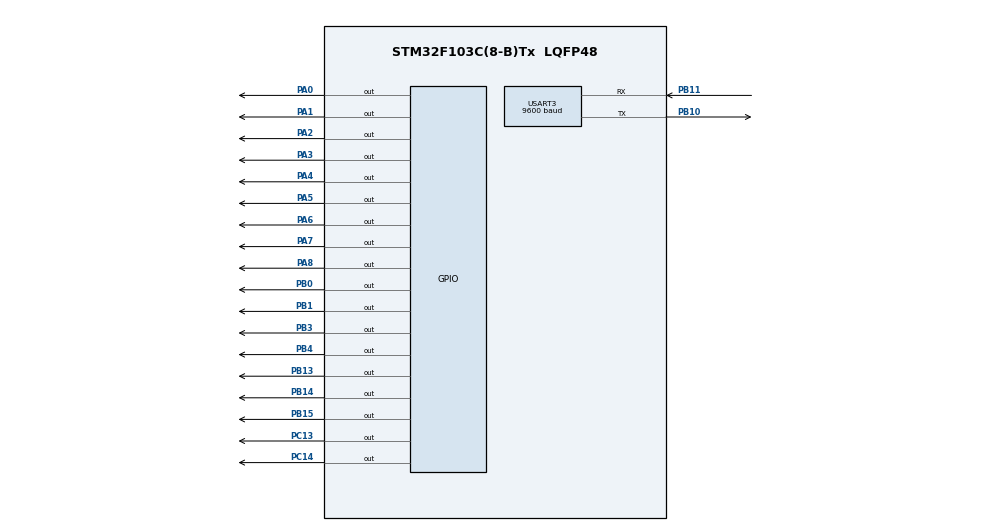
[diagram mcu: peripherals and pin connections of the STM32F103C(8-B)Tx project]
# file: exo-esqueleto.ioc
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Mcu.Family=STM32F1
Mcu.Name=STM32F103C(8-B)Tx
Mcu.Package=LQFP48
NVIC.PriorityGroup=NVIC_PRIORITYGROUP_4
NVIC.TIM3_IRQn=true\:0\:0\:false\:false\:true\:true\:true\:true
NVIC.USART3_IRQn=true\:0\:0\:false\:false\:true\:true\:true\:true
PA0-WKUP.Signal=GPIO_Output
PA1.Signal=GPIO_Output
PA13.Mode=Serial_Wire
PA13.Signal=SYS_JTMS-SWDIO
PA14.Mode=Serial_Wire
PA14.Signal=SYS_JTCK-SWCLK
PA2.Signal=GPIO_Output
PA3.Signal=GPIO_Output
PA4.PinState=GPIO_PIN_SET
PA4.Signal=GPIO_Output
PA5.Signal=GPIO_Output
PA6.Signal=GPIO_Output
PA7.Signal=GPIO_Output
PA8.Signal=GPIO_Output
PB0.Signal=GPIO_Output
PB1.Signal=GPIO_Output
PB10.Mode=Asynchronous
PB10.Signal=USART3_TX
PB11.Mode=Asynchronous
PB11.Signal=USART3_RX
PB13.Signal=GPIO_Output
PB14.Signal=GPIO_Output
PB15.Signal=GPIO_Output
PB3.Signal=GPIO_Output
PB4.PinState=GPIO_PIN_RESET
PB4.Signal=GPIO_Output
PC13-TAMPER-RTC.Signal=GPIO_Output
PC14-OSC32_IN.Signal=GPIO_Output
ProjectManager.HeapSize=0x200
ProjectManager.StackSize=0x400
ProjectManager.TargetToolchain=STM32CubeIDE
RCC.APB1Freq_Value=8000000
RCC.APB2Freq_Value=8000000
TIM3.AutoReloadPreload=TIM_AUTORELOAD_PRELOAD_ENABLE
TIM3.Period=5
TIM3.Prescaler=800
USART3.BaudRate=9600
USART3.VirtualMode=VM_ASYNC
VP_TIM3_VS_ClockSourceINT.Mode=Internal
board=custom

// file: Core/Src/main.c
/* USER CODE BEGIN Header */
/**
 ******************************************************************************
 * @file           : main.c
 * @brief          : Main program body
 ******************************************************************************
 * @attention
 *
 * Copyright (c) 2023 STMicroelectronics.
 * All rights reserved.
                                              *
 * This software is licensed under terms that can be found in the LICENSE file
 * in the root directory of this software component.
 * If no LICENSE file comes with this software, it is provided AS-IS.
 *
 ******************************************************************************
 */
/* USER CODE END Header */
#include "main.h"
#include "tim.h"
#include "usart.h"
#include "gpio.h"

/* USER CODE BEGIN PTD */
typedef enum{
	empty = 0,
	full
}enum_buffer_status;

typedef enum{
	Up = 0,
	Down,
	None
}enum_motion;

typedef enum{
	No = 0,
	Yes
}enum_bit_state;

typedef enum{
	Unreferenced = 0,
	Referenced
}enum_referenced;

typedef enum{
	GoHome = 0,
	WaitReleaseStage,
	GoInitialPosition,
	HomeRoutineComplete,
}enum_home_stages;

typedef enum{
	not_used = 0x00,
	reference_routine = 0x01,
	all_way_down  = 0x02,
	all_way_up  = 0x03,
	sinewave  = 0x04,
	gotoposition  = 0x05,
	reserved_plus=0x2B,
	reserved_minus=0x2D,
	reserved_major_C = 0x43,
	reserved_major_D = 0x44,
	nothing=0x74,
	deselect_thumb = 0x75,
	deselect_index = 0x76,
	deselect_middle = 0x77,
	deselect_ring = 0x78,
	deselect_little = 0x79,
	select_thumb = 0x7A,
	select_index = 0x7B,
	select_middle = 0x7C,
	select_ring = 0x7D,
	select_little = 0x7E,
	stop = 0x7F,
	speed_0 = 0xFA,
	speed_1 = 0xFB,
	speed_2 = 0xFC,
	speed_3 = 0xFD,
	speed_4 = 0xFE,
	speed_5 = 0xFF
}enum_action;

typedef enum{
	lost = 0,
	home,
	referenced
}enum_motor_status;

typedef enum{
	thumb = 0,
	index,
	middle,
	ring,
	little,
	flength
}enum_fingers;

typedef enum{
	portA = 0,
	portB,
}enum_ports;

typedef enum{
	normal = 0,
	fast = 1,
	as_hell

}enum_speed;

typedef enum{
	home_fs = 0,
	idle_fs,

}enum_fsm_state;

typedef struct{
	enum_bit_state in_operation;
	enum_fsm_state fsm_state;
	uint8_t bluetooth_command;
}st_exoesk;

typedef struct{
	uint16_t current_pos[flength];
	uint16_t go_to[flength];
	enum_bit_state fingers_in_op[flength];
	enum_bit_state fingers_in_pos[flength];
}st_gfinger_params;

typedef struct{
	const uint8_t port;
	const uint16_t pin;
}st_gpio_config_t;

typedef struct {
	const st_gpio_config_t step;
	const st_gpio_config_t direction;
	const st_gpio_config_t sleep;
}st_fconfig;

typedef void(*func_ptr_t)(st_exoesk * exoesk);

/* USER CODE END PTD */

/* USER CODE BEGIN PD */
//#define test

/* USER CODE END PD */

/* USER CODE BEGIN PV */

static const st_fconfig exoconfig[flength] = {
	/*       steps               direction                sleep                 home          */
	{ {portA, GPIO_PIN_1}, 	{portA, GPIO_PIN_0},   {portB, GPIO_PIN_4},	},//thumb
	{ {portB, GPIO_PIN_14},	{portB, GPIO_PIN_13},  {portB, GPIO_PIN_15}, },//index
	{ {portB, GPIO_PIN_1}, 	{portB, GPIO_PIN_0},   {portA, GPIO_PIN_8},	},//middle
	{ {portA, GPIO_PIN_6}, 	{portA, GPIO_PIN_5},   {portA, GPIO_PIN_7},	},//ring
	{ {portA, GPIO_PIN_3}, 	{portA, GPIO_PIN_2},   {portB, GPIO_PIN_3} }//little
};

static uint8_t times = 0;
static volatile uint8_t timeout_flg = 0;
static volatile enum_motor_status home_routine[flength] = {lost};
static volatile enum_buffer_status buffer_status = empty;
static volatile st_gfinger_params gfinger_params = { {0},{0},{0},{0} };

/* USER CODE END PV */

void SystemClock_Config(void);
/* USER CODE BEGIN PFP */

static void set_direction(uint8_t finger, GPIO_PinState dir);
static void sleep_motor(uint8_t finger);
static void motor_wakeup(uint8_t finger);
static void send_pulse(uint8_t finger);
static void clean_buffer(uint8_t * buf);
static void sinewave_fn(st_exoesk * exoesk);
static void preset_fingers_target(st_exoesk * exoesk, uint16_t position);
static void alive_fn(void);
static void send_step_pulses(st_exoesk * exoesk);
static void select_all_fingers(st_exoesk * exoesk);
static void deselect_all_fingers(st_exoesk * exoesk);
static void prepare_action(st_exoesk * exoesk);
static void dynamics(st_exoesk * exoesk);
static void home_f(st_exoesk * exoesk);
static void idle_f(st_exoesk * exoesk);
static void finger_default_conditions();
static uint8_t process_cmd(st_exoesk * exoesk);
static uint8_t fingers_in_position(void);
static void emergency_stop(void);
static void sleep_all_fingers(void);

/* USER CODE END PFP */

/* USER CODE BEGIN 0 */

static const func_ptr_t fsm_state[2] = {home_f, idle_f};

void HAL_UART_RxCpltCallback(UART_HandleTypeDef *huart){
	//waits until buffer is empty again
	if(empty == buffer_status)
	{
		buffer_status = full;
	}
}

void HAL_TIM_PeriodElapsedCallback(TIM_HandleTypeDef * htim)
{
	if(htim->Instance == TIM3)
	{
		if(timeout_flg==0)
		{
			timeout_flg = 1;
		}

	}

}

/* USER CODE END 0 */

int main(void)
{
  /* USER CODE BEGIN 1 */
	uint8_t halfms_cnt=0;
	st_exoesk exoesk = {No, home_fs, 0};
  /* USER CODE END 1 */

  /* MCU Configuration--------------------------------------------------------*/

  /* Reset of all peripherals, Initializes the Flash interface and the Systick. */
  HAL_Init();

  /* Configure the system clock */
  SystemClock_Config();

  /* Initialize all configured peripherals */
  MX_GPIO_Init();
  MX_USART3_UART_Init();
  MX_TIM3_Init();
  /* USER CODE BEGIN 2 */

	HAL_UART_Receive_IT(&huart3, &exoesk.bluetooth_command, sizeof(exoesk.bluetooth_command));
	htim3.Init.Period = htim3.Init.Period >> (normal);
	HAL_TIM_Base_Start_IT(&htim3);
	HAL_GPIO_WritePin(GPIOA, GPIO_PIN_4, GPIO_PIN_RESET);
	finger_default_conditions();
  /* USER CODE END 2 */

  /* Infinite loop */
  /* USER CODE BEGIN WHILE */
	while (1)
	{

		fsm_state[exoesk.fsm_state](&exoesk);

		if(timeout_flg)
		{

			if (halfms_cnt < times)
			{

				halfms_cnt++;
			}
			else
			{
				dynamics(&exoesk);
				halfms_cnt = 0;
			}
			alive_fn();
			timeout_flg = 0;

		}
    /* USER CODE END WHILE */

	}
}

void SystemClock_Config(void)
{
  RCC_OscInitTypeDef RCC_OscInitStruct = {0};
  RCC_ClkInitTypeDef RCC_ClkInitStruct = {0};

  /** Initializes the RCC Oscillators according to the specified parameters
  * in the RCC_OscInitTypeDef structure.
  */
  RCC_OscInitStruct.OscillatorType = RCC_OSCILLATORTYPE_HSI;
  RCC_OscInitStruct.HSIState = RCC_HSI_ON;
  RCC_OscInitStruct.HSICalibrationValue = RCC_HSICALIBRATION_DEFAULT;
  RCC_OscInitStruct.PLL.PLLState = RCC_PLL_NONE;
  if (HAL_RCC_OscConfig(&RCC_OscInitStruct) != HAL_OK)
  {
    Error_Handler();
  }

  /** Initializes the CPU, AHB and APB buses clocks
  */
  RCC_ClkInitStruct.ClockType = RCC_CLOCKTYPE_HCLK|RCC_CLOCKTYPE_SYSCLK
                              |RCC_CLOCKTYPE_PCLK1|RCC_CLOCKTYPE_PCLK2;
  RCC_ClkInitStruct.SYSCLKSource = RCC_SYSCLKSOURCE_HSI;
  RCC_ClkInitStruct.AHBCLKDivider = RCC_SYSCLK_DIV1;
  RCC_ClkInitStruct.APB1CLKDivider = RCC_HCLK_DIV1;
  RCC_ClkInitStruct.APB2CLKDivider = RCC_HCLK_DIV1;

  if (HAL_RCC_ClockConfig(&RCC_ClkInitStruct, FLASH_LATENCY_0) != HAL_OK)
  {
    Error_Handler();
  }
}

/* USER CODE BEGIN 4 */

static void home_f(st_exoesk * exoesk)
{
	static enum_home_stages home_stage = GoHome;
	uint8_t finger = thumb;

	switch(home_stage)
	{
	case GoHome:
		// Seleccionamos los dedos que queremos mover en este caso todos.
		select_all_fingers(exoesk);
		// Situacion actual nos encontramos en la posicion 4095
		// Objetivo: movernos hacia la posicion CERO (0) (home)
		preset_fingers_target(exoesk, ZERO_POSITION);
		// Esperar a que se despejen los motores
		home_stage = WaitReleaseStage;
		break;
	case WaitReleaseStage:
		if(No == exoesk->in_operation)
		{
			// Definimos el objetivo al que hay que movernos. Los pasos necesarios para volver al boton
			preset_fingers_target(exoesk, HOME_POSITION);
			home_stage = GoInitialPosition;
		}
		break;

	case GoInitialPosition:
		if(No == exoesk->in_operation)
		{
			for(finger=thumb; finger<flength; finger++)
			{
				home_routine[finger] = referenced;
			}
			deselect_all_fingers(exoesk);
			home_stage = HomeRoutineComplete;
			exoesk->fsm_state = idle_fs;
		}
		break;
	case HomeRoutineComplete:
		// Comenzamos con condiciones iniciales
		finger_default_conditions();
		home_stage = GoHome;
		break;
	default:
		break;
	}

}

static void idle_f(st_exoesk * exoesk)
{

	if(full == buffer_status)
	{
		prepare_action(exoesk);
		clean_buffer(&exoesk->bluetooth_command);
		HAL_UART_Receive_IT(&huart3, &exoesk->bluetooth_command, sizeof(exoesk->bluetooth_command));
	}

}

static void dynamics(st_exoesk * exoesk)
{
	if(exoesk->in_operation)
	{
		/* Move fingers */
		send_step_pulses(exoesk);
	}

}

static void prepare_action(st_exoesk * exoesk)
{
	static uint8_t cmd_complete = 1;
	uint16_t steps = 0;

	if(cmd_complete == 0)
	{
		steps = exoesk->bluetooth_command * 25;
		preset_fingers_target(exoesk, (steps<<SYS_USED_STEP));
		cmd_complete = 1;
	}
	else
	{
		cmd_complete = process_cmd(exoesk);
	}
}

static uint8_t process_cmd(st_exoesk * exoesk)
{
	switch(exoesk->bluetooth_command)
	{
	case not_used:
		break;
	case reference_routine:
		exoesk->fsm_state = home_fs;
		break;
	case all_way_down:
		preset_fingers_target(exoesk, ZERO_POSITION);
		break;
	case all_way_up:
		preset_fingers_target(exoesk, MAX_POSITION);
		break;
	case sinewave:
		sinewave_fn(exoesk);
		break;
	case gotoposition:
		return 0;
		break;
	case reserved_major_C:
		break;
	case deselect_thumb:
		gfinger_params.fingers_in_op[thumb] = No;
		break;
	case deselect_index:
		gfinger_params.fingers_in_op[index] = No;
		break;
	case deselect_middle:
		gfinger_params.fingers_in_op[middle] = No;
		break;
	case deselect_ring:
		gfinger_params.fingers_in_op[ring] = No;
		break;
	case deselect_little:
		gfinger_params.fingers_in_op[little] = No;
		break;
	case select_thumb:
		gfinger_params.fingers_in_op[thumb] = Yes;
		break;
	case select_index:
		gfinger_params.fingers_in_op[index] = Yes;
		break;
	case select_middle:
		gfinger_params.fingers_in_op[middle] = Yes;
		break;
	case select_ring:
		gfinger_params.fingers_in_op[ring] = Yes;
		break;
	case select_little:
		gfinger_params.fingers_in_op[little] = Yes;
		break;
	case stop:
		sleep_all_fingers();
		exoesk->in_operation = No;

		break;
	case speed_1:
	case speed_2:
	case speed_3:
	case speed_4:
	case speed_5:
		times = exoesk->bluetooth_command - speed_0;
		break;
	default:
		break;
	}
	return 1;

}

static void select_all_fingers(st_exoesk * exoesk)
{
	for(uint8_t finger=thumb; finger<flength; finger++)
	{
		gfinger_params.fingers_in_op[finger] = Yes;
	}
}

static void deselect_all_fingers(st_exoesk * exoesk)
{
	for(uint8_t finger=thumb; finger<flength; finger++)
	{
		gfinger_params.fingers_in_op[finger] = No;
	}
}

static void sleep_all_fingers(void)
{
	for(uint8_t finger=thumb; finger<flength; finger++)
	{
		sleep_motor(finger);
	}
}

static void send_step_pulses(st_exoesk * exoesk)
{
	uint8_t finger = thumb;
	for(finger = thumb; finger < flength; finger++)
	{
		if(gfinger_params.fingers_in_op[finger])
		{
			/* when finger is selected to be moved */
			if(gfinger_params.go_to[finger] == gfinger_params.current_pos[finger])
			{
				/* when finger has reached expected position */
				sleep_motor(finger);
				gfinger_params.fingers_in_pos[finger] = Yes;
			}
			else
			{
				/* finger has not reached expected position */
				send_pulse(finger);
				if(gfinger_params.go_to[finger] > gfinger_params.current_pos[finger])
				{
					gfinger_params.current_pos[finger]++;
				}
				else
				{
					gfinger_params.current_pos[finger]--;
				}
			}
		}
	}

	/* if all fingers are in position we should sleep the system */
	if(fingers_in_position())
	{
		exoesk->in_operation = No;
	}
	else
	{
		exoesk->in_operation = Yes;
	}

}

static void alive_fn(void)
{
	static uint16_t var = 2000;

	if(var > 0)
	{
		var--;
	}
	else
	{
		var = 2000;
		HAL_GPIO_TogglePin(GPIOC, GPIO_PIN_13);
	}
}

static void finger_default_conditions()
{
	for(uint8_t finger=thumb; finger<flength; finger++)
	{
		/* el dedo no esta en operacion */
		gfinger_params.fingers_in_op[finger] = No;
		/* la rutina de home no se ha completado */
		home_routine[finger] = lost;
		/* no se conoce la posicion del motor */
		gfinger_params.current_pos[finger] = SCREW_LEN_IN_STEP;
		/* no se ha determinado la posicion a la que vamos a movernos */
		gfinger_params.go_to[finger] = ZERO_POSITION;
		/* el dedo esta en cierta posicion y por lo tanto no se esta moviendo */
		gfinger_params.fingers_in_pos[finger] = Yes;
	}
}

static void sinewave_fn(st_exoesk * exoesk)
{

}

/**
 * preset_fingers_target function
 *
 * 1) Revisa cual dedo se encuentra habilitado para moverse.
 * 2) Establece el objetivo al que hay que mover cada dedo
 * 3)
 *
 */
static void preset_fingers_target(st_exoesk * exoesk, uint16_t position)
{
	uint8_t finger = thumb;
	for(finger=thumb; finger<flength; finger++)
	{
		if(gfinger_params.fingers_in_op[finger])
		{
			gfinger_params.fingers_in_pos[finger] = No;
			gfinger_params.go_to[finger] = position;
			// opc1 -> si la posicion actual es mayor a la posicion final
			if (gfinger_params.current_pos[finger] > position)
			{
				set_direction(finger, Down);
				motor_wakeup(finger);
			}
			else if(gfinger_params.current_pos[finger] < position)
			{
				// si la posicion final es mayor al maximo
				if(MAX_POSITION < position)
				{
					gfinger_params.go_to[finger] = MAX_POSITION;
				}
				set_direction(finger, Up);
				motor_wakeup(finger);
			}
			else
			{
				// current position is not the same as goto position
				gfinger_params.go_to[finger] = gfinger_params.current_pos[finger];
				gfinger_params.fingers_in_pos[finger] = Yes;
			}
		}
	}

	/* if all fingers are in position we should do nothing */
	if(fingers_in_position())
	{
		exoesk->in_operation = No;
	}
	else
	{
		exoesk->in_operation = Yes;
	}

}

static uint8_t fingers_in_position()
{
	return (gfinger_params.fingers_in_pos[thumb] &&
			gfinger_params.fingers_in_pos[index] &&
			gfinger_params.fingers_in_pos[middle] &&
			gfinger_params.fingers_in_pos[ring] &&
			gfinger_params.fingers_in_pos[little]);
}

static void clean_buffer(uint8_t * buf)
{
	*buf = 0;
	buffer_status = empty;
}

static void emergency_stop(void)
{
	HAL_GPIO_WritePin(GPIOA, GPIO_PIN_4, GPIO_PIN_SET);
}

static void sleep_motor(uint8_t finger)
{
	if(exoconfig[finger].sleep.port == portA)
		HAL_GPIO_WritePin(GPIOA, exoconfig[finger].sleep.pin, GPIO_PIN_RESET);
	else
		HAL_GPIO_WritePin(GPIOB, exoconfig[finger].sleep.pin, GPIO_PIN_RESET);
}

static void motor_wakeup(uint8_t finger)
{
	if(exoconfig[finger].sleep.port == portA)
		HAL_GPIO_WritePin(GPIOA, exoconfig[finger].sleep.pin, GPIO_PIN_SET);
	else
		HAL_GPIO_WritePin(GPIOB, exoconfig[finger].sleep.pin, GPIO_PIN_SET);
}

static void send_pulse(uint8_t finger)
{
	if(exoconfig[finger].step.port == portA)
		HAL_GPIO_TogglePin(GPIOA, exoconfig[finger].step.pin);
	else
		HAL_GPIO_TogglePin(GPIOB, exoconfig[finger].step.pin);
}

static void set_direction(uint8_t finger, GPIO_PinState dir)
{

	if(exoconfig[finger].direction.port == portA)
		HAL_GPIO_WritePin(GPIOA, exoconfig[finger].direction.pin, dir);
	else
		HAL_GPIO_WritePin(GPIOB, exoconfig[finger].direction.pin, dir);
}

/* USER CODE END 4 */

void Error_Handler(void)
{
	__disable_irq();
	while (1)
	{
	}
}
